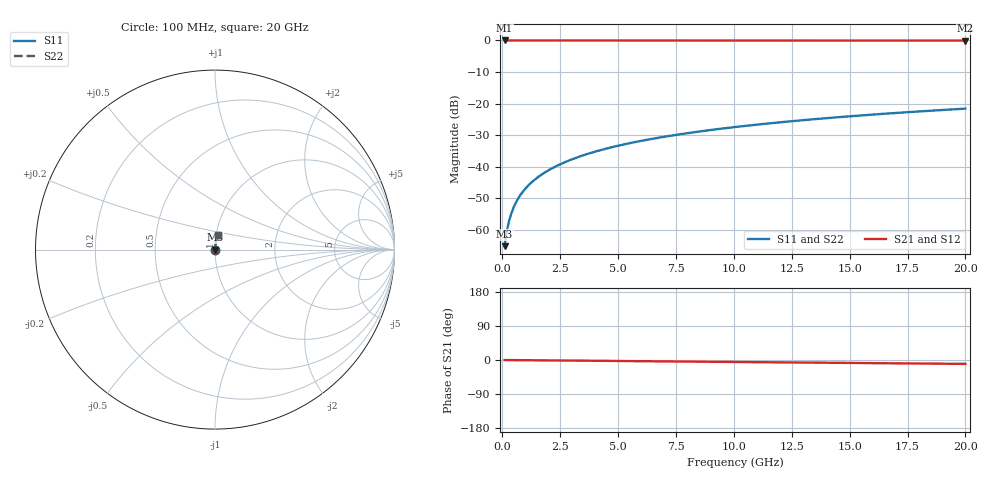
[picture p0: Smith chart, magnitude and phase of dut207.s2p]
! Touchstone file exported from HFSS 2026.1.0
!  File:  C:/ffzhzh/LocalFiles/Ansys_Project_Files/temp_train_TSV_207_1782991869_42984.aedt
!  Generated:  07:33:10 PM Jul  2, 2026
!  Design:  TSV
!  Project:  temp_train_TSV_207_1782991869_42984
! Variables:
!  h_bsmrdl = 2um
!  h_ox = 20um
!  h_rdl = 5um
!  h_sub = 88.56um
!  h_tmrdl = 5um
!  h_tsv = 88.56um
!  h_via = 3um
!  l_bsmrdl = 300um
!  l_sub = 412.24um
!  l_tmrdl = 200um
!  m_sub = 200um
!  pitch = 51.49um
!  r_tsv = 6.12um
!  s_tmrdl = 10um
!  w_bsmrdl = 18um
!  w_sub = 500um
!  w_tmrdl = 12um
!  x_tsv_center1 = 206um
!  x_tsv_center2 = 524um
!  x_tsv_center3 = 736um
!  x_tsv_center4 = 1054um
!  x_tsv_center5 = 1266um
!  x_tsv_center6 = 1584um
# GHz S MA R 50.000000
! Terminal data exported
! Port[1] = TSV1_1_T1
! Port[2] = TSV1_1_T2
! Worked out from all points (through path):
!   200 points, 100 MHz to 20 GHz, reference 50 ohm
!   highest |S21| = 0.00 dB at 100 MHz (marker M1); lowest = 0.0 dB at 20 GHz (marker M2)
!   group delay of S21, straight-line fit = 1.43 ps
!   lowest |S11| = -65.1 dB at 100 MHz (marker M3), VSWR 1.00, Z = 50 + j0.0466 ohm
!   |S11| at or under -10 dB: start of sweep to end of sweep
!   |S22| runs from -65.1 to -21.6 dB; largest |S21 - S12| = 3e-15
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0.1  0.0005554 56.9  0.9997 -0.1  0.9997 -0.1  0.0005554 56.9
! Gamma 0 0 0 0
! Port Impedance 50 0 50 0
0.2  0.0009804 71.4  0.9997 -0.1  0.9997 -0.1  0.0009804 71.4
0.3  0.001428 76.7  0.9997 -0.2  0.9997 -0.2  0.001428 76.7
0.4  0.001879 79.2  0.9997 -0.2  0.9997 -0.2  0.001879 79.2
0.5  0.002329 80.7  0.9996 -0.3  0.9996 -0.3  0.002329 80.7
0.6  0.002776 81.7  0.9996 -0.3  0.9996 -0.3  0.002776 81.7
0.7  0.00322 82.3  0.9996 -0.4  0.9996 -0.4  0.00322 82.3
0.8  0.003661 82.8  0.9996 -0.4  0.9996 -0.4  0.003661 82.8
1  0.004535 83.5  0.9995 -0.5  0.9995 -0.5  0.004535 83.5
1.4  0.006265 84.3  0.9994 -0.7  0.9994 -0.7  0.006265 84.3
1.7  0.007555 84.6  0.9994 -0.9  0.9994 -0.9  0.007555 84.6
2  0.00884 84.8  0.9993 -1.1  0.9993 -1.1  0.00884 84.8
2.7  0.01183 85.1  0.9992 -1.4  0.9992 -1.4  0.01183 85.1
3.5  0.01523 85.1  0.9991 -1.8  0.9991 -1.8  0.01523 85.1
4.2  0.0182 85.0  0.9989 -2.2  0.9989 -2.2  0.0182 85.0
5  0.02157 84.8  0.9988 -2.6  0.9988 -2.6  0.02157 84.8
6.8  0.02912 84.2  0.9984 -3.5  0.9984 -3.5  0.02912 84.2
8.3  0.03537 83.6  0.9981 -4.3  0.9981 -4.3  0.03537 83.6
10.1  0.04285 82.9  0.9977 -5.2  0.9977 -5.2  0.04285 82.9
13.4  0.05648 81.4  0.9968 -6.9  0.9968 -6.9  0.05648 81.5
16.7  0.07 79.9  0.9958 -8.6  0.9958 -8.6  0.07 79.9
20  0.08338 78.4  0.9945 -10.3  0.9945 -10.3  0.08338 78.4
